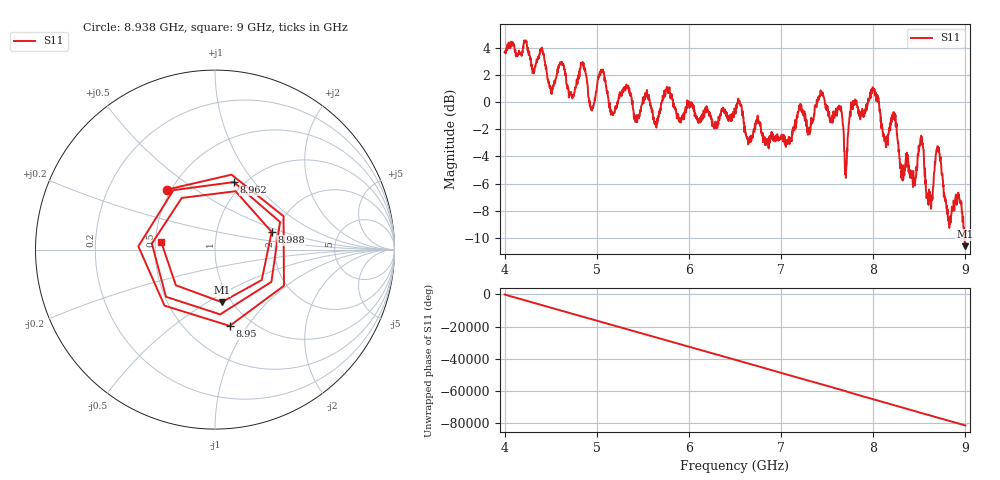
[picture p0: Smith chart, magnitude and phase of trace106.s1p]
! Created with skrf 1.8.0 (http://scikit-rf.org).
# Hz S RI R 50.0
!freq ReS11 ImS11
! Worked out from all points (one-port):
!   1601 points, 4 GHz to 9 GHz, reference 50 ohm
!   lowest |S11| = -10.6 dB at 8.994 GHz (marker M1), VSWR 1.84, Z = 45.1 - j28.9 ohm
!   |S11| at or under -10 dB: 8.990164 GHz to end of sweep
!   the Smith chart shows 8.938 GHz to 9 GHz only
!   S11 on the Smith chart (normalised r, x): 8.938 GHz: 0.48, +0.39; 8.95 GHz: 0.79, -0.83; 8.962 GHz: 0.90, +0.80; 8.988 GHz: 1.86, +0.41; 9 GHz: 0.54, +0.05
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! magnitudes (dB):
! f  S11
! 4 GHz  3.7
! 4.403 GHz  3.9
! 4.509 GHz  0.8
! 4.625 GHz  2.8
! 4.722 GHz  0.7
! 4.853 GHz  2.7
! 4.944 GHz  -0.4
! 5.053 GHz  2.2
! 5.25 GHz  0.7
! 5.875 GHz  -0.9
! 6.5 GHz  -0.5
! 7.125 GHz  -2.2
! 7.441 GHz  0.7
! 7.641 GHz  -0.5
! 7.703 GHz  -5.6
! 7.75 GHz  -0.7
! 8.006 GHz  0.9
! 8.375 GHz  -3.9
! 8.525 GHz  -3.0
! 8.619 GHz  -7.3
! 8.706 GHz  -3.3
! 8.819 GHz  -8.7
! 8.938 GHz  -7.4
! 8.95 GHz  -7.3
! 8.962 GHz  -8.2
! 8.988 GHz  -9.6
! 8.994 GHz  -10.6
! 9 GHz  -10.4
